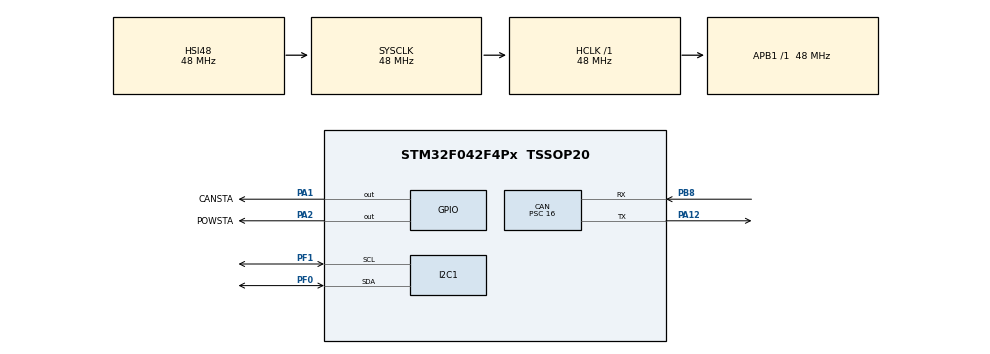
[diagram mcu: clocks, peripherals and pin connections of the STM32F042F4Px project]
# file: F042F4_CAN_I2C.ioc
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CAN.BS1=CAN_BS1_8TQ
CAN.BS2=CAN_BS2_3TQ
CAN.CalculateTimeBit=4000
CAN.CalculateTimeQuantum=333.3333333333333
CAN.Prescaler=16
CAN.SJW=CAN_SJW_4TQ
I2C1.Timing=0x20303E5D
Mcu.Family=STM32F0
Mcu.Name=STM32F042F4Px
Mcu.Package=TSSOP20
NVIC.CEC_CAN_IRQn=true\:0\:0\:false\:false\:true
NVIC.I2C1_IRQn=true\:0\:0\:false\:false\:true
PA1.GPIO_Label=CANSTA
PA1.GPIO_PuPd=GPIO_PULLUP
PA1.PinState=GPIO_PIN_SET
PA1.Signal=GPIO_Output
PA12.Mode=Master
PA12.Signal=CAN_TX
PA13.Mode=Serial-WireDebug
PA13.Signal=SYS_SWDIO
PA14.Mode=Serial-WireDebug
PA14.Signal=SYS_SWCLK
PA2.GPIO_Label=POWSTA
PA2.GPIO_PuPd=GPIO_PULLUP
PA2.PinState=GPIO_PIN_SET
PA2.Signal=GPIO_Output
PB8.GPIO_PuPd=GPIO_PULLDOWN
PB8.Mode=Master
PB8.Signal=CAN_RX
PF0-OSC_IN.Mode=I2C
PF0-OSC_IN.Signal=I2C1_SDA
PF1-OSC_OUT.Mode=I2C
PF1-OSC_OUT.Signal=I2C1_SCL
ProjectManager.HeapSize=0x200
ProjectManager.StackSize=0x400
ProjectManager.TargetToolchain=MDK-ARM V5
RCC.AHBFreq_Value=48000000
RCC.APB1Freq_Value=48000000
RCC.APB1TimFreq_Value=48000000
RCC.HCLKFreq_Value=48000000
RCC.I2c1ClockSelection=RCC_I2C1CLKSOURCE_SYSCLK
RCC.SYSCLKFreq_VALUE=48000000
RCC.SYSCLKSource=RCC_SYSCLKSOURCE_HSI48
VP_SYS_VS_PINREMAP.Mode=PINREMAP
board=F042F4_CAN_I2C

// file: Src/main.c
/**
  ******************************************************************************
  * File Name          : main.c
  * Description        : Main program body
  ******************************************************************************
  *
  * COPYRIGHT(c) 2016 STMicroelectronics
  *
  * Redistribution and use in source and binary forms, with or without modification,
  * are permitted provided that the following conditions are met:
  *   1. Redistributions of source code must retain the above copyright notice,
  *      this list of conditions and the following disclaimer.
  *   2. Redistributions in binary form must reproduce the above copyright notice,
  *      this list of conditions and the following disclaimer in the documentation
  *      and/or other materials provided with the distribution.
  *   3. Neither the name of STMicroelectronics nor the names of its contributors
  *      may be used to endorse or promote products derived from this software
  *      without specific prior written permission.
  *
  * THIS SOFTWARE IS PROVIDED BY THE COPYRIGHT HOLDERS AND CONTRIBUTORS "AS IS"
  * AND ANY EXPRESS OR IMPLIED WARRANTIES, INCLUDING, BUT NOT LIMITED TO, THE
  * IMPLIED WARRANTIES OF MERCHANTABILITY AND FITNESS FOR A PARTICULAR PURPOSE ARE
  * DISCLAIMED. IN NO EVENT SHALL THE COPYRIGHT HOLDER OR CONTRIBUTORS BE LIABLE
  * FOR ANY DIRECT, INDIRECT, INCIDENTAL, SPECIAL, EXEMPLARY, OR CONSEQUENTIAL
  * DAMAGES (INCLUDING, BUT NOT LIMITED TO, PROCUREMENT OF SUBSTITUTE GOODS OR
  * SERVICES; LOSS OF USE, DATA, OR PROFITS; OR BUSINESS INTERRUPTION) HOWEVER
  * CAUSED AND ON ANY THEORY OF LIABILITY, WHETHER IN CONTRACT, STRICT LIABILITY,
  * OR TORT (INCLUDING NEGLIGENCE OR OTHERWISE) ARISING IN ANY WAY OUT OF THE USE
  * OF THIS SOFTWARE, EVEN IF ADVISED OF THE POSSIBILITY OF SUCH DAMAGE.
  *
  ******************************************************************************
  */
#include "stm32f0xx_hal.h"

CAN_HandleTypeDef hcan;

I2C_HandleTypeDef hi2c1;

/* USER CODE BEGIN PV */
/* Private variables ---------------------------------------------------------*/

unsigned int val_Tx = 0, val_Rx = 0;              /* Globals used for display */
volatile uint32_t msTicks;                        /* counts 1ms timeTicks     */

uint8_t xBuffer[3],rrr,www,send;
uint8_t UART_Buffer[3]={0x31,0x32,0x0D};
uint8_t DEVADDR;
uint32_t CAN_ReceiveMessage = 0;

typedef struct  {
  unsigned int   id;                    /* 29 bit identifier */
  unsigned char  data[8];               /* Data field */
  unsigned char  len;                   /* Length of data field in bytes */
  unsigned char  format;                /* 0 - STANDARD, 1- EXTENDED IDENTIFIER */
  unsigned char  type;                  /* 0 - DATA FRAME, 1 - REMOTE FRAME */
} CAN_msg;

CAN_msg       CAN_RxMsg;                      /* CAN message for receiving */
CAN_msg       CAN_TxMsg[2];                      /* CAN message for sending */

uint32_t      CAN_RxRdy = 0;              /* CAN HW received a message */
uint32_t      CAN_TxRdy = 0;              /* CAN HW transmit a message */

static uint32_t CAN_filterIdx[2] = {0,0};        /* static variable for the filter index */

uint32_t      CAN_msgId     = 0;

#define STANDARD_FORMAT  0
#define EXTENDED_FORMAT  1

#define DATA_FRAME       0
#define REMOTE_FRAME     1
/* USER CODE END PV */

void SystemClock_Config(void);
static void MX_GPIO_Init(void);
static void MX_CAN_Init(void);
static void MX_I2C1_Init(void);

/* USER CODE BEGIN PFP */
/* Private function prototypes -----------------------------------------------*/
//==============================================================================
void CAN_wrFilter (uint32_t ctrl, uint32_t id, uint8_t format)  {

  if (CAN_filterIdx[ctrl-1] > 13) {                 /* check if Filter Memory is full*/
    return;
  }
                                            /* Setup identifier information  */
  if (format == STANDARD_FORMAT)  {         /*   Standard ID                 */
      CAN_msgId |= (uint32_t)(id << 21) | CAN_ID_STD;
  }  else  {                                /*   Extended ID                 */
      CAN_msgId |= (uint32_t)(id <<  3) | CAN_ID_EXT;
  }

  CAN->FMR  |=   CAN_FMR_FINIT;            /* set initMode for filter banks */
  CAN->FA1R &=  ~(1UL << CAN_filterIdx[ctrl-1]);   /* deactivate filter             */

                                            /* initialize filter             */
  CAN->FS1R |= (uint32_t)(1 << CAN_filterIdx[ctrl-1]);     /* set 32-bit scale configuration    */

	/*! !* To disable the CAN Filters: Swap the comment on the next two lines and the two lines after the next line. */
	CAN->FM1R |= (uint32_t)(1 << CAN_filterIdx[ctrl-1]);   /* set to 32-bit Identifier List mode */
	//CAN->FM1R |= 0x0;    							/* DISABLES FILTERS  set to 32-bit Identifier Mask mode */

  CAN->sFilterRegister[CAN_filterIdx[ctrl-1]].FR1 = 0; //CAN_msgId; /*  32-bit identifier   */

	/* !!*  To disable the CAN Filters: Swap the comment on the next two lines.    */
  CAN->sFilterRegister[CAN_filterIdx[ctrl-1]].FR2 = CAN_msgId; 	/*  32-bit identifier (33) for identifier mode  */
	//CAN->sFilterRegister[CAN_filterIdx[ctrl-1]].FR2 = 0; 	/*  DISABLES FILTERS  32-bit MASK for mask mode */

  CAN->FFA1R &= ~(uint32_t)(1 << CAN_filterIdx[ctrl-1]);   /* assign filter to FIFO 0  */
  CAN->FA1R  |=  (uint32_t)(1 << CAN_filterIdx[ctrl-1]);   /* activate filter          */

  CAN->FMR &= ~CAN_FMR_FINIT;              /* reset initMode for filterBanks*/

	CAN_filterIdx[ctrl-1]++;                       /* increase filter index  */
}

//===========================================================================================

void CAN_wrMsg (uint32_t ctrl, CAN_msg *msg)  {
//  CAN_TypeDef *pCAN = (ctrl == 1) ? CAN1 : CAN2;

  CAN->sTxMailBox[0].TIR  = (uint32_t)0; /* reset TXRQ bit */
                                          /* Setup identifier information */
  if (msg->format == STANDARD_FORMAT) {   /*    Standard ID                   */
    CAN->sTxMailBox[0].TIR |= (uint32_t)(msg->id << 21) | CAN_ID_STD;
  } else {                                /* Extended ID                      */
    CAN->sTxMailBox[0].TIR |= (uint32_t)(msg->id <<  3) | CAN_ID_EXT;
  }

                                          /* Setup type information           */
  if (msg->type == DATA_FRAME)  {         /* DATA FRAME                       */
    CAN->sTxMailBox[0].TIR |= CAN_RTR_DATA;
  } else {                                /* REMOTE FRAME                     */
    CAN->sTxMailBox[0].TIR |= CAN_RTR_REMOTE;
  }
                                          /* Setup data bytes                 */
  CAN->sTxMailBox[0].TDLR = (((uint32_t)msg->data[3] << 24) |
                              ((uint32_t)msg->data[2] << 16) |
                              ((uint32_t)msg->data[1] <<  8) |
                              ((uint32_t)msg->data[0])        );
  CAN->sTxMailBox[0].TDHR = (((uint32_t)msg->data[7] << 24) |
                              ((uint32_t)msg->data[6] << 16) |
                              ((uint32_t)msg->data[5] <<  8) |
                              ((uint32_t)msg->data[4])        );
                                          /* Setup length                     */
  CAN->sTxMailBox[0].TDTR &= ~CAN_TDT0R_DLC;
  CAN->sTxMailBox[0].TDTR |=  (msg->len & CAN_TDT0R_DLC);

  CAN->IER |= CAN_IER_TMEIE;                 /* enable  TME interrupt        */
  CAN->sTxMailBox[0].TIR |=  CAN_TI0R_TXRQ;  /* transmit message             */
}

//============================================================================================
void CAN_rdMsg (uint32_t ctrl, CAN_msg *msg)  {
                                              /* Read identifier information  */
  if ((CAN->sFIFOMailBox[0].RIR & CAN_ID_EXT) == 0) {
    msg->format = STANDARD_FORMAT;
    msg->id     = 0x000007FF & (CAN->sFIFOMailBox[0].RIR >> 21);
  } else {
    msg->format = EXTENDED_FORMAT;
    msg->id     = 0x1FFFFFFF & (CAN->sFIFOMailBox[0].RIR >> 3);
  }
                                              /* Read type information        */
  if ((CAN->sFIFOMailBox[0].RIR & CAN_RTR_REMOTE) == 0) {
    msg->type =   DATA_FRAME;
  } else {
    msg->type = REMOTE_FRAME;
  }
                                              /* Read number of rec. bytes    */
  msg->len     = (CAN->sFIFOMailBox[0].RDTR      ) & 0x0F;
                                              /* Read data bytes              */
  msg->data[0] = (CAN->sFIFOMailBox[0].RDLR      ) & 0xFF;
  msg->data[1] = (CAN->sFIFOMailBox[0].RDLR >>  8) & 0xFF;
  msg->data[2] = (CAN->sFIFOMailBox[0].RDLR >> 16) & 0xFF;
  msg->data[3] = (CAN->sFIFOMailBox[0].RDLR >> 24) & 0xFF;

  msg->data[4] = (CAN->sFIFOMailBox[0].RDHR      ) & 0xFF;
  msg->data[5] = (CAN->sFIFOMailBox[0].RDHR >>  8) & 0xFF;
  msg->data[6] = (CAN->sFIFOMailBox[0].RDHR >> 16) & 0xFF;
  msg->data[7] = (CAN->sFIFOMailBox[0].RDHR >> 24) & 0xFF;

  CAN->RF0R |= CAN_RF0R_RFOM0;             /* Release FIFO 0 output mailbox */
}
//=============================================================================
void read_CAN(void)
{
CAN_rdMsg (1, &CAN_RxMsg);
}

/* USER CODE END PFP */

int main(void)
{

  /* MCU Configuration----------------------------------------------------------*/

  /* Reset of all peripherals, Initializes the Flash interface and the Systick. */
  HAL_Init();

  /* Configure the system clock */
  SystemClock_Config();

  /* Initialize all configured peripherals */
  MX_GPIO_Init();
  MX_CAN_Init();
  MX_I2C1_Init();

  /* USER CODE BEGIN 2 */
 CAN->IER |= CAN_IER_FMPIE0;								/* enable FIFO 0 msg pending IRQ    */

 CAN->IER |= CAN_IER_TMEIE;								/* enable FIFO 0 msg pending IRQ    */

 CAN_wrFilter (1, 199, STANDARD_FORMAT);    /* filter reception of msgs */
 CAN->MCR &= ~CAN_MCR_INRQ;             		/* normal operating mode, reset INRQ*/
 while (CAN->MSR & CAN_MCR_INRQ);						/* start CAN Controller  */

HAL_GPIO_WritePin(GPIOA, GPIO_PIN_2, GPIO_PIN_RESET);		//on Power LED
HAL_GPIO_WritePin(GPIOA, GPIO_PIN_1, GPIO_PIN_SET);			//off CAN LED

  int i;
  //LED_Init ();                                    /* initialize the LEDs      */
  SystemCoreClockUpdate();                        /* Get Core Clock Frequency */

  SysTick_Config(SystemCoreClock /1000);         /* SysTick 1 msec irq       */

  CAN_TxMsg[1].id = 199;                           /* initialize msg to send   */
  for (i = 0; i < 8; i++) CAN_TxMsg[0].data[i] = 0;
  CAN_TxMsg[1].len = 1;
  CAN_TxMsg[1].format = STANDARD_FORMAT;
	CAN_TxMsg[1].type = DATA_FRAME;

      CAN_TxRdy = 1;
  /* USER CODE END 2 */

  /* Infinite loop */
  while (1)
  {

  /* USER CODE BEGIN 3 */

//    if (CAN_RxRdy == 1)  																													/* rx msg on CAN Ctrl */
//			{
//				CAN_RxRdy = 0;																														//clear CAM flag
//				xBuffer[1] = 0;																														//write command
//				xBuffer[0] = 0x12;																												//data for write command
////				xBuffer[0] = CAN_ReceiveMessage;
//				DEVADDR=0x5e; 																														//asdress of digital potentiometr
//				www=HAL_I2C_Master_Transmit(&hi2c1, (uint16_t) DEVADDR, xBuffer, 2, 10);  //write to address  (2-number of bytes)
//        HAL_Delay(1); 																														//memory write delay
//				HAL_GPIO_TogglePin(GPIOA, GPIO_PIN_2);				//toggle CAN LED
//			}

    val_Tx = val_Tx + 1;
    if (CAN_TxRdy) {                           /* tx msg on CAN Ctrl #2    */
      CAN_TxRdy = 0;
      CAN_TxMsg[1].data[0] = val_Tx;              /* data[0] = ADC value      */
			for (i = 1; i < 8; i++) CAN_TxMsg[1].data[i] = val_Tx;
      CAN_wrMsg (2, &CAN_TxMsg[1]);               /* transmit message         */

//		void CAN_wrMsg (uint32_t ctrl, CAN_msg *msg)  {
//  CAN_TypeDef *pCAN = (ctrl == 1) ? CAN1 : CAN2;

  CAN->sTxMailBox[0].TIR  = (uint32_t)0; /* reset TXRQ bit */
                                          /* Setup identifier information */
  if (CAN_TxMsg->format == STANDARD_FORMAT) {   /*    Standard ID                   */
    CAN->sTxMailBox[0].TIR |= (uint32_t)(CAN_TxMsg->id << 21) | CAN_ID_STD;
  } else {                                /* Extended ID                      */
    CAN->sTxMailBox[0].TIR |= (uint32_t)(CAN_TxMsg->id <<  3) | CAN_ID_EXT;
  }

                                          /* Setup type information           */
  if (CAN_TxMsg->type == DATA_FRAME)  {         /* DATA FRAME                       */
    CAN->sTxMailBox[0].TIR |= CAN_RTR_DATA;
  } else {                                /* REMOTE FRAME                     */
    CAN->sTxMailBox[0].TIR |= CAN_RTR_REMOTE;
  }
                                          /* Setup data bytes                 */
  CAN->sTxMailBox[0].TDLR = (((uint32_t)CAN_TxMsg->data[3] << 24) |
                              ((uint32_t)CAN_TxMsg->data[2] << 16) |
                              ((uint32_t)CAN_TxMsg->data[1] <<  8) |
                              ((uint32_t)CAN_TxMsg->data[0])        );
  CAN->sTxMailBox[0].TDHR = (((uint32_t)CAN_TxMsg->data[7] << 24) |
                              ((uint32_t)CAN_TxMsg->data[6] << 16) |
                              ((uint32_t)CAN_TxMsg->data[5] <<  8) |
                              ((uint32_t)CAN_TxMsg->data[4])        );
                                          /* Setup length                     */
  CAN->sTxMailBox[0].TDTR &= ~CAN_TDT0R_DLC;
  CAN->sTxMailBox[0].TDTR |=  (CAN_TxMsg->len & CAN_TDT0R_DLC);

  CAN->IER |= CAN_IER_TMEIE;                 /* enable  TME interrupt        */
  CAN->sTxMailBox[0].TIR |=  CAN_TI0R_TXRQ;  /* transmit message             */
//}

//HAL_CAN_Transmit_IT(&hcan2);

    }
    HAL_Delay (10);                                   /* delay for 10ms           */
    if (CAN_RxRdy) {                           /* rx msg on CAN Ctrl #1    */
      CAN_RxRdy = 0;
      val_Rx = CAN_RxMsg.data[0];
    }
		HAL_GPIO_TogglePin(GPIOA, GPIO_PIN_2);				//toggle CAN LED

    HAL_Delay (200);                                  /* delay for 500ms          */

  }
  /* USER CODE END 3 */

}

/** System Clock Configuration
*/
void SystemClock_Config(void)
{

  RCC_OscInitTypeDef RCC_OscInitStruct;
  RCC_ClkInitTypeDef RCC_ClkInitStruct;
  RCC_PeriphCLKInitTypeDef PeriphClkInit;

  RCC_OscInitStruct.OscillatorType = RCC_OSCILLATORTYPE_HSI48;
  RCC_OscInitStruct.HSI48State = RCC_HSI48_ON;
  RCC_OscInitStruct.PLL.PLLState = RCC_PLL_NONE;
  HAL_RCC_OscConfig(&RCC_OscInitStruct);

  RCC_ClkInitStruct.ClockType = RCC_CLOCKTYPE_HCLK|RCC_CLOCKTYPE_SYSCLK
                              |RCC_CLOCKTYPE_PCLK1;
  RCC_ClkInitStruct.SYSCLKSource = RCC_SYSCLKSOURCE_HSI48;
  RCC_ClkInitStruct.AHBCLKDivider = RCC_SYSCLK_DIV1;
  RCC_ClkInitStruct.APB1CLKDivider = RCC_HCLK_DIV1;
  HAL_RCC_ClockConfig(&RCC_ClkInitStruct, FLASH_LATENCY_1);

  PeriphClkInit.PeriphClockSelection = RCC_PERIPHCLK_I2C1;
  PeriphClkInit.I2c1ClockSelection = RCC_I2C1CLKSOURCE_SYSCLK;
  HAL_RCCEx_PeriphCLKConfig(&PeriphClkInit);

  HAL_SYSTICK_Config(HAL_RCC_GetHCLKFreq()/1000);

  HAL_SYSTICK_CLKSourceConfig(SYSTICK_CLKSOURCE_HCLK);

  /* SysTick_IRQn interrupt configuration */
  HAL_NVIC_SetPriority(SysTick_IRQn, 0, 0);
}

/* CAN init function */
void MX_CAN_Init(void)
{

  hcan.Instance = CAN;
  hcan.Init.Prescaler = 16;
  hcan.Init.Mode = CAN_MODE_NORMAL;
  hcan.Init.SJW = CAN_SJW_4TQ;
  hcan.Init.BS1 = CAN_BS1_8TQ;
  hcan.Init.BS2 = CAN_BS2_3TQ;
  hcan.Init.TTCM = DISABLE;
  hcan.Init.ABOM = DISABLE;
  hcan.Init.AWUM = DISABLE;
  hcan.Init.NART = DISABLE;
  hcan.Init.RFLM = DISABLE;
  hcan.Init.TXFP = DISABLE;
  HAL_CAN_Init(&hcan);

}

/* I2C1 init function */
void MX_I2C1_Init(void)
{

  hi2c1.Instance = I2C1;
  hi2c1.Init.Timing = 0x20303E5D;
  hi2c1.Init.OwnAddress1 = 0;
  hi2c1.Init.AddressingMode = I2C_ADDRESSINGMODE_7BIT;
  hi2c1.Init.DualAddressMode = I2C_DUALADDRESS_DISABLE;
  hi2c1.Init.OwnAddress2 = 0;
  hi2c1.Init.OwnAddress2Masks = I2C_OA2_NOMASK;
  hi2c1.Init.GeneralCallMode = I2C_GENERALCALL_DISABLE;
  hi2c1.Init.NoStretchMode = I2C_NOSTRETCH_DISABLE;
  HAL_I2C_Init(&hi2c1);

    /**Configure Analogue filter
    */
  HAL_I2CEx_ConfigAnalogFilter(&hi2c1, I2C_ANALOGFILTER_ENABLE);

}

/** Configure pins as
        * Analog
        * Input
        * Output
        * EVENT_OUT
        * EXTI
*/
void MX_GPIO_Init(void)
{

  GPIO_InitTypeDef GPIO_InitStruct;

  /* GPIO Ports Clock Enable */
  __HAL_RCC_GPIOB_CLK_ENABLE();
  __HAL_RCC_GPIOF_CLK_ENABLE();
  __HAL_RCC_GPIOA_CLK_ENABLE();

  /*Configure GPIO pin Output Level */
  HAL_GPIO_WritePin(GPIOA, CANSTA_Pin|POWSTA_Pin, GPIO_PIN_SET);

  /*Configure GPIO pins : CANSTA_Pin POWSTA_Pin */
  GPIO_InitStruct.Pin = CANSTA_Pin|POWSTA_Pin;
  GPIO_InitStruct.Mode = GPIO_MODE_OUTPUT_PP;
  GPIO_InitStruct.Pull = GPIO_PULLUP;
  GPIO_InitStruct.Speed = GPIO_SPEED_FREQ_LOW;
  HAL_GPIO_Init(GPIOA, &GPIO_InitStruct);

}

/************************ (C) COPYRIGHT STMicroelectronics *****END OF FILE****/
